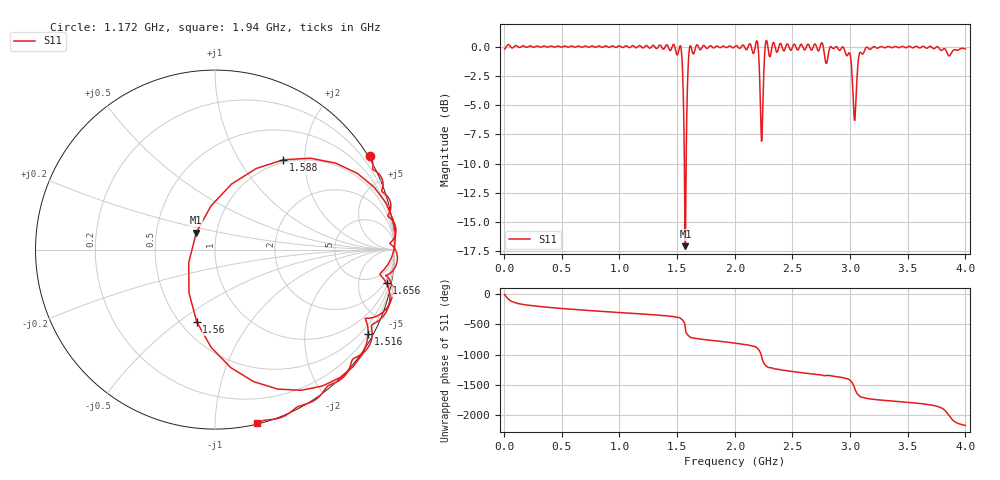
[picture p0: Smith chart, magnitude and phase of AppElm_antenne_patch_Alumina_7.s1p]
! TOUCHSTONE file generated by CST MICROWAVE STUDIO
! Date and time: Thu Jun  9 07:40:00 2022
! Project name: AppElm_antenne_patch_Alumina.cst
! Parameters = {L=30.5; W=43.89; e=0.035; h=1.6; lambda=0.190476; ls=90; w0=1.12; w1=0.373; ws=90; y0=14; y1=10}
! Header version: 2018
! Port assignment regex: !\s*Touchstone port\s*([0-9]+)\s*=\s*(CST MWS port|CST DS port)\s*([0-9]+|Zmin|Zmax)\s*\(\"(.*)\"\)(\s*mode\s*([0-9]+))?.*
! Touchstone port assignment:
! Touchstone port 1 = CST MWS port 1 ("")
# GHz S MA R 50
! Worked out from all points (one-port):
!   1000 points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, 4 MHz to 4 GHz, reference 50 ohm
!   lowest |S11| = -17.1 dB at 1.572 GHz (marker M1), VSWR 1.33, Z = 39.9 + j7.63 ohm
!   |S11| at or under -10 dB: 1.563 GHz to 1.578 GHz (15.58 MHz wide, 0.992 % of centre)
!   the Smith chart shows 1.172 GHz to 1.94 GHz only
!   S11 on the Smith chart (normalised r, x): 1.172 GHz: -0.06, +3.57; 1.516 GHz: 0.20, -3.87; 1.56 GHz: 0.60, -0.59; 1.588 GHz: 0.95, +1.58; 1.656 GHz: 1, -10; 1.94 GHz: 0.01, -1.27
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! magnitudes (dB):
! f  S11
! 4 MHz  -0.2
! 504 MHz  0.0
! 1.004 GHz  0.1
! 1.172 GHz  0.1
! 1.504 GHz  -0.7
! 1.516 GHz  -0.2
! 1.54 GHz  -0.7
! 1.56 GHz  -7.6
! 1.572 GHz  -17.1
! 1.588 GHz  -4.0
! 1.6 GHz  -0.9
! 1.608 GHz  -0.1
! 1.656 GHz  -0.2
! 1.94 GHz  0.0
! 2.004 GHz  0.0
! 2.188 GHz  0.5
! 2.232 GHz  -8.1
! 2.276 GHz  0.5
! 2.504 GHz  0.0
! 2.752 GHz  0.3
! 2.796 GHz  -1.4
! 2.936 GHz  0.0
! 3.004 GHz  -0.9
! 3.04 GHz  -6.3
! 3.076 GHz  -0.8
! 3.096 GHz  -0.5
! 3.504 GHz  0.0
! 4 GHz  -0.2
